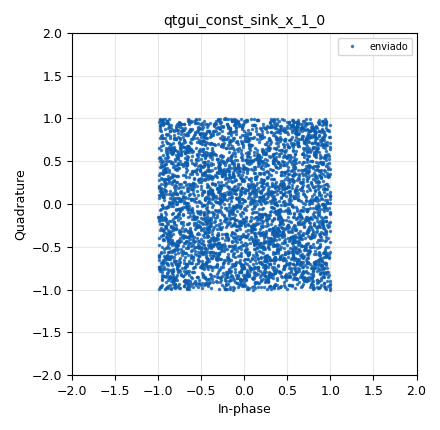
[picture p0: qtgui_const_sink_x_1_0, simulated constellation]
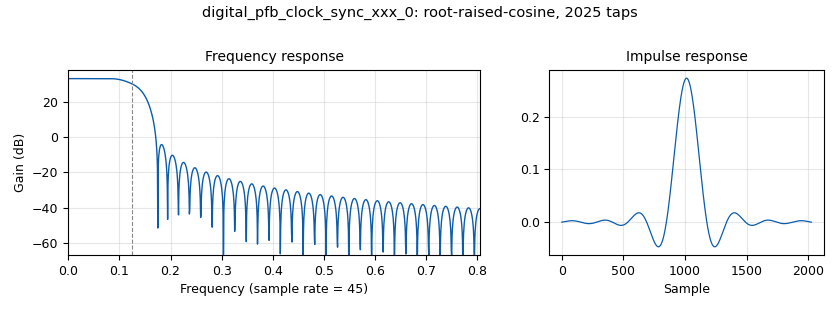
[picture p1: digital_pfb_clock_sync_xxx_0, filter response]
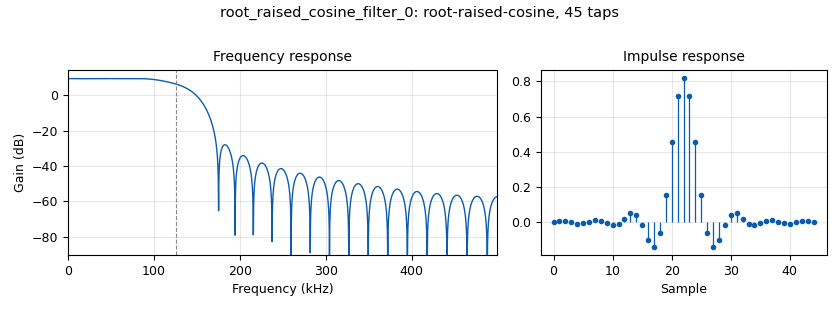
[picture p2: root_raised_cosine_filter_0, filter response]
options:
  parameters:
    category: Custom
    generate_options: qt_gui
    id: channel_dataset
    output_language: python
    title: channel_dataset
  states: {}

blocks:
- name: arity
  id: variable
  parameters:
    value: '4'
  states: {}
- name: excess_bw
  id: variable
  parameters:
    value: '0.35'
  states: {}
- name: nfilts
  id: variable
  parameters:
    value: '45'
  states: {}
- name: phase_bw
  id: variable
  parameters:
    value: '0.0628'
  states: {}
- name: rf_gain
  id: variable_qtgui_range
  parameters:
    label: RF Gain
    rangeType: int
    start: '0'
    step: '1'
    stop: '76'
    value: '25'
  states: {}
- name: rrc_taps
  id: variable
  parameters:
    value: firdes.root_raised_cosine(nfilts, nfilts, 1.0/float(sps), 0.35, 45*nfilts)
  states: {}
- name: samp_rate
  id: variable
  parameters:
    value: 1000e3
  states: {}
- name: scale
  id: variable
  parameters:
    value: '2'
  states: {}
- name: skip
  id: variable
  parameters:
    value: samp_rate*2
  states: {}
- name: sps
  id: variable
  parameters:
    value: '4'
  states: {}
- name: tuning
  id: variable_qtgui_range
  parameters:
    label: Frequency
    start: 10e6
    step: 200e3
    stop: 6e9
    value: 11e6
  states: {}
- name: analog_random_source_x_1
  id: analog_random_source_x
  parameters:
    max: '32768'
    min: '-32768'
    num_samps: int(samp_rate)
    repeat: 'True'
    type: short
  states: {}
- name: analog_random_source_x_1_0
  id: analog_random_source_x
  parameters:
    max: '2'
    min: '0'
    num_samps: int(samp_rate)
    repeat: 'True'
    type: byte
  states: {state: disabled}
- name: blocks_file_sink_0
  id: blocks_file_sink
  parameters:
    file: /home/usrp/Documents/2944-UFSM-VLC/square_constellation/sent
    type: complex
  states: {}
- name: blocks_file_sink_0_0
  id: blocks_file_sink
  parameters:
    file: /home/usrp/Documents/2944-UFSM-VLC/square_constellation/received
    type: complex
  states: {}
- name: blocks_head_0_0
  id: blocks_head
  parameters:
    num_items: int(skip)
    type: complex
  states: {}
- name: blocks_head_0_0_0
  id: blocks_head
  parameters:
    num_items: int(skip)
    type: complex
  states: {}
- name: blocks_head_0_1
  id: blocks_head
  parameters:
    num_items: int(skip)*2
    type: short
  states: {}
- name: blocks_head_0_1_0
  id: blocks_head
  parameters:
    num_items: int(skip)*2
    type: byte
  states: {state: disabled}
- name: blocks_interleaved_char_to_complex_0
  id: blocks_interleaved_char_to_complex
  parameters:
    scale_factor: '2'
    vector_input: 'False'
  states: {state: disabled}
- name: blocks_interleaved_short_to_complex_0
  id: blocks_interleaved_short_to_complex
  parameters:
    scale_factor: '32768'
    vector_input: 'False'
  states: {}
- name: digital_pfb_clock_sync_xxx_0
  id: digital_pfb_clock_sync_xxx
  parameters:
    filter_size: nfilts
    init_phase: nfilts/2
    loop_bw: phase_bw
    max_dev: '1.5'
    osps: '1'
    sps: sps
    taps: rrc_taps
    type: ccf
  states: {}
- name: qtgui_const_sink_x_0
  id: qtgui_const_sink_x
  parameters:
    autoscale: 'True'
    color1: '"green"'
    gui_hint: 0,0,2,1
    label1: polyphase
    size: '4096'
    type: complex
  states: {}
- name: qtgui_const_sink_x_1_0
  id: qtgui_const_sink_x
  parameters:
    gui_hint: 0,3,2,1
    label1: enviado
    size: '4096'
    type: complex
  states: {}
- name: qtgui_time_sink_x_0
  id: qtgui_time_sink_x
  parameters:
    size: '1024'
    srate: samp_rate
    type: complex
  states: {state: disabled}
- name: root_raised_cosine_filter_0
  id: root_raised_cosine_filter
  parameters:
    alpha: '0.35'
    gain: '3'
    interp: sps
    ntaps: nfilts
    samp_rate: samp_rate
    sym_rate: samp_rate/sps
    type: interp_fir_filter_ccf
  states: {}
- name: uhd_usrp_sink_0
  id: uhd_usrp_sink
  parameters:
    ant0: '"TX/RX"'
    bw0: 2*samp_rate
    center_freq0: tuning
    dev_addr: '"addr0=192.168.136.139"'
    gain0: rf_gain
    samp_rate: samp_rate
    stream_chans: '[0]'
    sync: pc_clock
    type: fc32
  states: {}
- name: uhd_usrp_source_0
  id: uhd_usrp_source
  parameters:
    ant0: '"TX/RX"'
    bw0: 2*samp_rate
    center_freq0: tuning
    dev_addr: '"addr0=192.168.136.139"'
    dev_args: '""'
    gain0: rf_gain
    samp_rate: samp_rate
    stream_chans: '[1]'
    sync: pc_clock
    type: fc32
  states: {}

connections:
- [analog_random_source_x_1, '0', blocks_head_0_1, '0']
- [analog_random_source_x_1_0, '0', blocks_head_0_1_0, '0']
- [blocks_head_0_0, '0', blocks_file_sink_0, '0']
- [blocks_head_0_0_0, '0', blocks_file_sink_0_0, '0']
- [blocks_head_0_1, '0', blocks_interleaved_short_to_complex_0, '0']
- [blocks_head_0_1_0, '0', blocks_interleaved_char_to_complex_0, '0']
- [blocks_interleaved_char_to_complex_0, '0', blocks_head_0_0, '0']
- [blocks_interleaved_char_to_complex_0, '0', qtgui_const_sink_x_1_0, '0']
- [blocks_interleaved_char_to_complex_0, '0', root_raised_cosine_filter_0, '0']
- [blocks_interleaved_short_to_complex_0, '0', blocks_head_0_0, '0']
- [blocks_interleaved_short_to_complex_0, '0', qtgui_const_sink_x_1_0, '0']
- [blocks_interleaved_short_to_complex_0, '0', root_raised_cosine_filter_0, '0']
- [digital_pfb_clock_sync_xxx_0, '0', blocks_head_0_0_0, '0']
- [digital_pfb_clock_sync_xxx_0, '0', qtgui_const_sink_x_0, '0']
- [root_raised_cosine_filter_0, '0', qtgui_time_sink_x_0, '0']
- [root_raised_cosine_filter_0, '0', uhd_usrp_sink_0, '0']
- [uhd_usrp_source_0, '0', digital_pfb_clock_sync_xxx_0, '0']

metadata:
  file_format: 1
